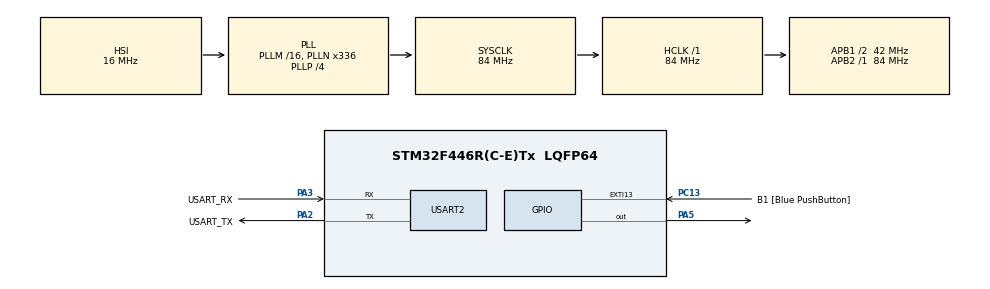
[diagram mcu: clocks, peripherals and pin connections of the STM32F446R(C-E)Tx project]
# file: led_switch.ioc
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Mcu.Family=STM32F4
Mcu.Name=STM32F446R(C-E)Tx
Mcu.Package=LQFP64
NVIC.PriorityGroup=NVIC_PRIORITYGROUP_0
PA13.GPIO_Label=TMS
PA13.Mode=Serial_Wire
PA13.Signal=SYS_JTMS-SWDIO
PA14.GPIO_Label=TCK
PA14.Mode=Serial_Wire
PA14.Signal=SYS_JTCK-SWCLK
PA2.GPIO_Label=USART_TX
PA2.Mode=Asynchronous
PA2.Signal=USART2_TX
PA3.GPIO_Label=USART_RX
PA3.Mode=Asynchronous
PA3.Signal=USART2_RX
PA5.Signal=GPIO_Output
PB3.GPIO_Label=SWO
PB3.Signal=SYS_JTDO-SWO
PC13.GPIO_Label=B1 [Blue PushButton]
PC13.GPIO_ModeDefaultEXTI=GPIO_MODE_IT_FALLING
PC13.Signal=GPXTI13
PC14-OSC32_IN.Mode=LSE-External-Oscillator
PC14-OSC32_IN.Signal=RCC_OSC32_IN
PC15-OSC32_OUT.Mode=LSE-External-Oscillator
PC15-OSC32_OUT.Signal=RCC_OSC32_OUT
PH0-OSC_IN.Mode=HSE-External-Oscillator
PH0-OSC_IN.Signal=RCC_OSC_IN
PH1-OSC_OUT.Mode=HSE-External-Oscillator
PH1-OSC_OUT.Signal=RCC_OSC_OUT
ProjectManager.HeapSize=0x200
ProjectManager.StackSize=0x400
ProjectManager.TargetToolchain=STM32CubeIDE
RCC.48MHZClocksFreq_Value=84000000
RCC.AHBFreq_Value=84000000
RCC.APB1CLKDivider=RCC_HCLK_DIV2
RCC.APB1Freq_Value=42000000
RCC.APB1TimFreq_Value=84000000
RCC.APB2Freq_Value=84000000
RCC.APB2TimFreq_Value=84000000
RCC.CortexFreq_Value=84000000
RCC.FLatency-AdvancedSettings=FLASH_LATENCY_2
RCC.HCLKFreq_Value=84000000
RCC.HSE_VALUE=8000000
RCC.HSI_VALUE=16000000
RCC.PLLN=336
RCC.PLLP=RCC_PLLP_DIV4
RCC.SYSCLKFreq_VALUE=84000000
RCC.SYSCLKSource=RCC_SYSCLKSOURCE_PLLCLK
RCC.USBFreq_Value=168000000
RCC.VCOOutputFreq_Value=336000000
USART2.VirtualMode=VM_ASYNC
board=NUCLEO-F446RE

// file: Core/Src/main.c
/* USER CODE BEGIN Header */
/**
  ******************************************************************************
  * @file           : main.c
  * @brief          : Main program body
  ******************************************************************************
  * @attention
  *
  * Copyright (c) 2023 STMicroelectronics.
  * All rights reserved.
  *
  * This software is licensed under terms that can be found in the LICENSE file
  * in the root directory of this software component.
  * If no LICENSE file comes with this software, it is provided AS-IS.
  *
  ******************************************************************************
  */
/* USER CODE END Header */
#include "main.h"
#include<stdio.h>

UART_HandleTypeDef huart2;

void SystemClock_Config(void);
static void MX_GPIO_Init(void);
static void MX_USART2_UART_Init(void);

/* USER CODE BEGIN 0 */

void Led_Toggle(int count)
{
	for(int i=0;i<count;i++){
	HAL_GPIO_WritePin(GPIOA,GPIO_PIN_5,1);
	HAL_Delay(100);
	HAL_GPIO_WritePin(GPIOA,GPIO_PIN_5,0);
	HAL_Delay(100);
	}

	}

/* USER CODE END 0 */

int main(void)
{

  /* MCU Configuration--------------------------------------------------------*/

  /* Reset of all peripherals, Initializes the Flash interface and the Systick. */
  HAL_Init();

  /* Configure the system clock */
  SystemClock_Config();

  /* Initialize all configured peripherals */
  MX_GPIO_Init();
  MX_USART2_UART_Init();

  /* Infinite loop */
  /* USER CODE BEGIN WHILE */

  while (1)
  {
	  int count=0;
    while(count<4){
    	if(!(HAL_GPIO_ReadPin(GPIOC,GPIO_PIN_13))){
    		count++;
    		if(count == 1)
    		            {   printf("Switch Pressed 1 Time\n");
    			            Led_Toggle(count);
    		            }
    		else if(count == 2)
    		    		{   printf("Switch Pressed 2 Time\n");
    		    			Led_Toggle(count);
    		    		}
    		else if(count == 3)
    		    		{   printf("Switch Pressed 3 Time\n");
    		    			Led_Toggle(count);
    		    		}
    	}
    	else{
    		printf("Switch not Pressed\n");
    		HAL_GPIO_WritePin(GPIOA,GPIO_PIN_5,0);
    		HAL_Delay(100);
    	}

    	}
    }
  	  }

    /* USER CODE END WHILE */

void SystemClock_Config(void)
{
  RCC_OscInitTypeDef RCC_OscInitStruct = {0};
  RCC_ClkInitTypeDef RCC_ClkInitStruct = {0};

  /** Configure the main internal regulator output voltage
  */
  __HAL_RCC_PWR_CLK_ENABLE();
  __HAL_PWR_VOLTAGESCALING_CONFIG(PWR_REGULATOR_VOLTAGE_SCALE3);

  /** Initializes the RCC Oscillators according to the specified parameters
  * in the RCC_OscInitTypeDef structure.
  */
  RCC_OscInitStruct.OscillatorType = RCC_OSCILLATORTYPE_HSI;
  RCC_OscInitStruct.HSIState = RCC_HSI_ON;
  RCC_OscInitStruct.HSICalibrationValue = RCC_HSICALIBRATION_DEFAULT;
  RCC_OscInitStruct.PLL.PLLState = RCC_PLL_ON;
  RCC_OscInitStruct.PLL.PLLSource = RCC_PLLSOURCE_HSI;
  RCC_OscInitStruct.PLL.PLLM = 16;
  RCC_OscInitStruct.PLL.PLLN = 336;
  RCC_OscInitStruct.PLL.PLLP = RCC_PLLP_DIV4;
  RCC_OscInitStruct.PLL.PLLQ = 2;
  RCC_OscInitStruct.PLL.PLLR = 2;
  if (HAL_RCC_OscConfig(&RCC_OscInitStruct) != HAL_OK)
  {
    Error_Handler();
  }

  /** Initializes the CPU, AHB and APB buses clocks
  */
  RCC_ClkInitStruct.ClockType = RCC_CLOCKTYPE_HCLK|RCC_CLOCKTYPE_SYSCLK
                              |RCC_CLOCKTYPE_PCLK1|RCC_CLOCKTYPE_PCLK2;
  RCC_ClkInitStruct.SYSCLKSource = RCC_SYSCLKSOURCE_PLLCLK;
  RCC_ClkInitStruct.AHBCLKDivider = RCC_SYSCLK_DIV1;
  RCC_ClkInitStruct.APB1CLKDivider = RCC_HCLK_DIV2;
  RCC_ClkInitStruct.APB2CLKDivider = RCC_HCLK_DIV1;

  if (HAL_RCC_ClockConfig(&RCC_ClkInitStruct, FLASH_LATENCY_2) != HAL_OK)
  {
    Error_Handler();
  }
}

int _write(int file, char *ptr, int len)
{
  (void)file;
  int DataIdx;

  for (DataIdx = 0; DataIdx < len; DataIdx++)
  {
    //__io_putchar(*ptr++);
	  ITM_SendChar(*ptr++);
  }
  return len;
}

static void MX_USART2_UART_Init(void)
{

  huart2.Instance = USART2;
  huart2.Init.BaudRate = 115200;
  huart2.Init.WordLength = UART_WORDLENGTH_8B;
  huart2.Init.StopBits = UART_STOPBITS_1;
  huart2.Init.Parity = UART_PARITY_NONE;
  huart2.Init.Mode = UART_MODE_TX_RX;
  huart2.Init.HwFlowCtl = UART_HWCONTROL_NONE;
  huart2.Init.OverSampling = UART_OVERSAMPLING_16;
  if (HAL_UART_Init(&huart2) != HAL_OK)
  {
    Error_Handler();
  }

}

static void MX_GPIO_Init(void)
{
  GPIO_InitTypeDef GPIO_InitStruct = {0};

  /* GPIO Ports Clock Enable */
  __HAL_RCC_GPIOC_CLK_ENABLE();
  __HAL_RCC_GPIOH_CLK_ENABLE();
  __HAL_RCC_GPIOA_CLK_ENABLE();
  __HAL_RCC_GPIOB_CLK_ENABLE();

  /*Configure GPIO pin Output Level */
  HAL_GPIO_WritePin(GPIOA, GPIO_PIN_5, GPIO_PIN_RESET);

  /*Configure GPIO pin : B1_Pin */
  GPIO_InitStruct.Pin = B1_Pin;
  GPIO_InitStruct.Mode = GPIO_MODE_IT_FALLING;
  GPIO_InitStruct.Pull = GPIO_NOPULL;
  HAL_GPIO_Init(B1_GPIO_Port, &GPIO_InitStruct);

  /*Configure GPIO pin : PA5 */
  GPIO_InitStruct.Pin = GPIO_PIN_5;
  GPIO_InitStruct.Mode = GPIO_MODE_OUTPUT_PP;
  GPIO_InitStruct.Pull = GPIO_NOPULL;
  GPIO_InitStruct.Speed = GPIO_SPEED_FREQ_LOW;
  HAL_GPIO_Init(GPIOA, &GPIO_InitStruct);

}

void Error_Handler(void)
{
  __disable_irq();
  while (1)
  {
  }
}
